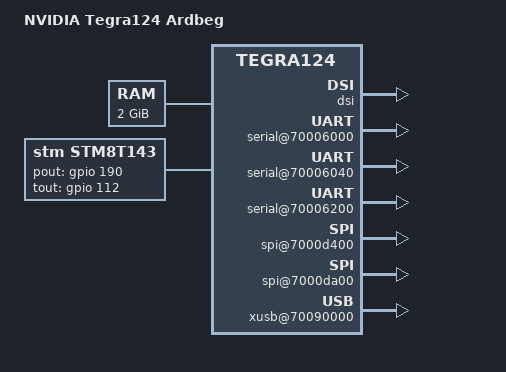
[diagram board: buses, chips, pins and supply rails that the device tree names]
/*
 * arch/arm/boot/dts/tegra124-ardbeg-e1780-1000-a00-common.dtsi
 *
 * Copyright (c) 2014, NVIDIA CORPORATION.  All rights reserved.
 *
 * This program is free software; you can redistribute it and/or modify
 * it under the terms of the GNU General Public License as published by
 * the Free Software Foundation; either version 2 of the License, or
 * (at your option) any later version.
 *
 * This program is distributed in the hope that it will be useful, but WITHOUT
 * ANY WARRANTY; without even the implied warranty of MERCHANTABILITY or
 * FITNESS FOR A PARTICULAR PURPOSE.  See the GNU General Public License for
 * more details.
 *
 * You should have received a copy of the GNU General Public License along
 * with this program; if not, write to the Free Software Foundation, Inc.,
 * 51 Franklin Street, Fifth Floor, Boston, MA  02110-1301, USA.
 */

/**
 * Common dtsi file for tegra124-ardbeg-e1780-1000-a00 varients.
 */

#include "tegra124.dtsi"
#include "tegra124-platforms/tegra124-ardbeg-powermon-e1780-1000-a00.dtsi"
#include "tegra124-platforms/tegra124-tn8-gpio-e1780-1100-a02.dtsi"
#include "tegra124-platforms/tegra124-tn8-pinmux-e1780-1100-a02.dtsi"
#include "tegra124-platforms/tegra124-tn8-keys-e1780-1100-a02.dtsi"
#include "tegra-panel.dtsi"
#include "tegra124-platforms/tegra124-ardbeg-hdmi-e1780-1000-a00.dtsi"
#include "tegra124-platforms/tegra124-tn8-camera-e1780-a00.dtsi"

/ {
	model = "NVIDIA Tegra124 Ardbeg";
	compatible = "nvidia,ardbeg", "nvidia,tegra124";
	nvidia,boardids = "1780:1000:00:B:3";
	#address-cells = <2>;
	#size-cells = <2>;

	chosen {
		bootargs = "tegraid=40.0.0.00.00 vmalloc=256M video=tegrafb console=ttyS0,115200n8 earlyprintk";
		linux,initrd-start = <0x85000000>;
		linux,initrd-end = <0x851bc400>;
	};
	host1x {
		/* tegradc.0 */
		dc@54200000 {
			status = "okay";
			nvidia,dc-flags = <TEGRA_DC_FLAG_ENABLED>;
			nvidia,emc-clk-rate = <204000000>;
			nvidia,cmu-enable = <1>;
			nvidia,low-v-win = <0x2>;
			nvidia,dc-connection = "internal-lcd";
			nvidia,fb-bpp = <32>; /* bits per pixel */
			nvidia,fb-flags = <TEGRA_FB_FLIP_ON_PROBE>;
		};
		/* tegradc.1 */
		dc@54240000 {
			status = "okay";
			nvidia,dc-flags = <TEGRA_DC_FLAG_ENABLED>;
			nvidia,emc-clk-rate = <300000000>;
			nvidia,dc-connection = "external-display";
			nvidia,fb-bpp = <32>; /* bits per pixel */
			nvidia,fb-flags = <TEGRA_FB_FLIP_ON_PROBE>;
		};
		dsi {
			nvidia,dsi-controller-vs = <1>;
			status = "okay";
			panel-p-wuxga-10-1 {
				nvidia,dsi-panel-rst-gpio = <&gpio TEGRA_GPIO(H, 3) 0>; /* PH3 */
				nvidia,dsi-panel-bl-pwm-gpio = <&gpio TEGRA_GPIO(H, 1) 0>; /* PH1 */
			};
			panel-s-wqxga-10-1 {
				nvidia,dsi-panel-rst-gpio = <&gpio TEGRA_GPIO(H, 3) 0>; /* PH3 */
				nvidia,dsi-panel-bl-pwm-gpio = <&gpio TEGRA_GPIO(H, 1) 0>; /* PH1 */
				nvidia,dsi-te-gpio = <&gpio TEGRA_GPIO(R, 6) 0>; /* PR6 */
			};
		};
	};
        serial@70006000 {
                compatible = "nvidia,tegra114-hsuart";
                status = "okay";
        };

        serial@70006040 {
                compatible = "nvidia,tegra114-hsuart";
                status = "okay";
        };

        serial@70006200 {
                compatible = "nvidia,tegra114-hsuart";
                status = "okay";
        };

	memory@0x80000000 {
		device_type = "memory";
		reg = <0x0 0x80000000 0x0 0x80000000>;
	};

	i2c@7000c400 {
		bq20z75@0b {
			compatible = "sbs,sbs-battery";
			reg = <0x0b>;
			status = "disabled";
			sbs,i2c-retry-count = <2>;
			sbs,poll-retry-count = <100>;
		};
	};

	i2c@7000d000 {
		nvidia,bit-banging-xfer-after-shutdown;
	};

	spi@7000d400 {
		status = "okay";
		spi-max-frequency = <25000000>;
	};

	spi@7000da00 {
		status = "okay";
		spi-max-frequency = <25000000>;
	};

	pmc {
		status = "okay";
		nvidia,invert-interrupt;
		nvidia,suspend-mode = <0>;
		nvidia,cpu-pwr-good-time = <500>;
		nvidia,cpu-pwr-off-time = <300>;
		nvidia,core-pwr-good-time = <3845 3845>;
		nvidia,core-pwr-off-time = <2000>;
		nvidia,core-power-req-active-high;
		nvidia,sys-clock-req-active-high;
	};

	stm8t143 {
		compatible = "stm,stm8t143";
		pout-gpio = <&gpio 190 0>;
		tout-gpio = <&gpio 112 0>;
	};

	xusb@70090000 {
		/* nvidia,uses_external_pmic;
		nvidia,gpio_controls_muxed_ss_lanes; */
		nvidia,gpio_ss1_sata = <0>;
		nvidia,portmap = <0x703>; /* SSP0, SSP1 USB2P0, USB2P1, USBP2 */
		nvidia,ss_portmap = <0x20>; /* SSP0 on USB2P0, SSP1 on USB2P2 */
		nvidia,lane_owner = <6>; /* USB3P0 USB3P1 */
		nvidia,ulpicap = <0>; /* No ulpi support. can we remove */
		/* hsic config values in order defined in structure */
		nvidia,hsic0 = /bits/8 <0x1 0x1 0x8 0xa 0 0 1 0x22 0>;
		status = "okay";
	};
};
